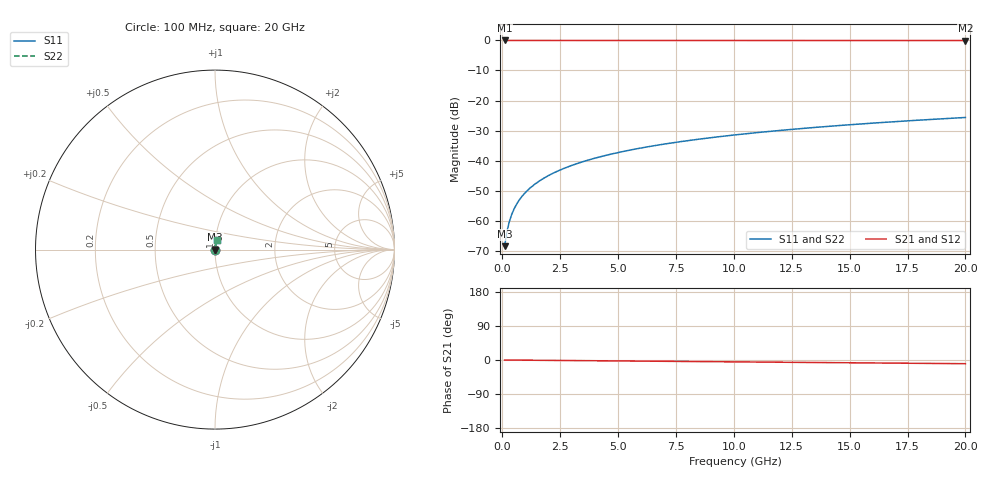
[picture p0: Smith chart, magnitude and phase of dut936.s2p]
! Touchstone file exported from HFSS 2026.1.0
!  File:  C:/ffzhzh/LocalFiles/Ansys_Project_Files/temp_train_TSV_936_1783186950_18472.aedt
!  Generated:  01:44:05 AM Jul  5, 2026
!  Design:  TSV
!  Project:  temp_train_TSV_936_1783186950_18472
! Variables:
!  h_bsmrdl = 2um
!  h_ox = 20um
!  h_rdl = 5um
!  h_sub = 92.52um
!  h_tmrdl = 5um
!  h_tsv = 92.52um
!  h_via = 3um
!  l_bsmrdl = 300um
!  l_sub = 415.38um
!  l_tmrdl = 200um
!  m_sub = 200um
!  pitch = 47.42um
!  r_tsv = 7.69um
!  s_tmrdl = 10um
!  w_bsmrdl = 18um
!  w_sub = 500um
!  w_tmrdl = 12um
!  x_tsv_center1 = 206um
!  x_tsv_center2 = 524um
!  x_tsv_center3 = 736um
!  x_tsv_center4 = 1054um
!  x_tsv_center5 = 1266um
!  x_tsv_center6 = 1584um
# GHz S MA R 50.000000
! Terminal data exported
! Port[1] = TSV1_1_T1
! Port[2] = TSV1_1_T2
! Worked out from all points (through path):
!   200 points, 100 MHz to 20 GHz, reference 50 ohm
!   highest |S21| = 0.00 dB at 100 MHz (marker M1); lowest = 0.0 dB at 20 GHz (marker M2)
!   group delay of S21, straight-line fit = 1.35 ps
!   lowest |S11| = -68.5 dB at 100 MHz (marker M3), VSWR 1.00, Z = 50 + j0.031 ohm
!   |S11| at or under -10 dB: start of sweep to end of sweep
!   |S22| runs from -68.5 to -25.6 dB; largest |S21 - S12| = 5e-15
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0.1  0.0003769 55.4  0.9998 -0.1  0.9998 -0.1  0.0003769 55.4
! Gamma 0 0 0 0
! Port Impedance 50 0 50 0
0.2  0.000658 69.9  0.9998 -0.1  0.9998 -0.1  0.000658 69.9
0.3  0.000954 75.2  0.9998 -0.2  0.9998 -0.2  0.000954 75.2
0.4  0.00125 77.7  0.9997 -0.2  0.9997 -0.2  0.00125 77.7
0.5  0.001544 79.1  0.9997 -0.3  0.9997 -0.3  0.001544 79.1
0.6  0.001833 79.9  0.9997 -0.3  0.9997 -0.3  0.001833 79.9
0.7  0.002118 80.5  0.9997 -0.4  0.9997 -0.4  0.002118 80.5
0.8  0.002399 81.0  0.9996 -0.4  0.9996 -0.4  0.002399 81.0
1  0.002953 81.6  0.9996 -0.5  0.9996 -0.5  0.002953 81.6
1.4  0.004039 82.5  0.9995 -0.7  0.9995 -0.7  0.004039 82.5
1.7  0.004846 83.0  0.9995 -0.8  0.9995 -0.8  0.004846 83.0
2  0.00565 83.3  0.9994 -1.0  0.9994 -1.0  0.00565 83.3
2.7  0.007523 83.8  0.9993 -1.3  0.9993 -1.3  0.007523 83.8
3.5  0.009655 84.0  0.9992 -1.7  0.9992 -1.7  0.009655 84.0
4.2  0.01151 84.0  0.9991 -2.1  0.9991 -2.1  0.01151 84.0
5  0.01363 83.9  0.999 -2.5  0.999 -2.5  0.01363 83.9
6.8  0.01835 83.5  0.9988 -3.3  0.9988 -3.3  0.01835 83.5
8.3  0.02225 83.1  0.9986 -4.1  0.9986 -4.1  0.02225 83.1
10.1  0.02692 82.4  0.9984 -4.9  0.9984 -4.9  0.02692 82.4
13.4  0.03543 81.2  0.998 -6.5  0.998 -6.5  0.03543 81.2
16.7  0.04388 79.8  0.9975 -8.1  0.9975 -8.1  0.04388 79.8
20  0.05223 78.4  0.9969 -9.7  0.9969 -9.7  0.05223 78.4
